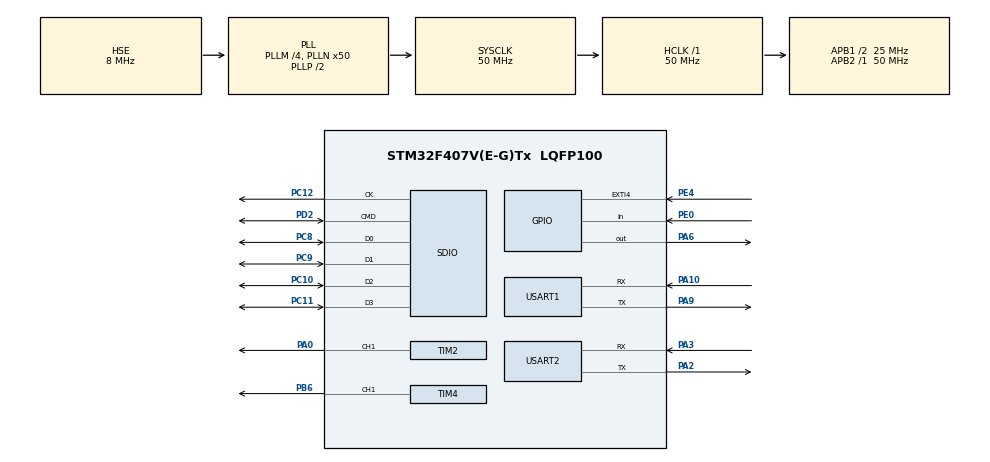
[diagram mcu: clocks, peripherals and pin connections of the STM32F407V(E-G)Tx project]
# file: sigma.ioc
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Dma.Request0=USART1_TX
Dma.Request1=USART2_TX
Dma.Request2=SDIO_RX
Dma.Request3=SDIO_TX
Dma.SDIO_RX.2.Direction=DMA_PERIPH_TO_MEMORY
Dma.SDIO_RX.2.FIFOMode=DMA_FIFOMODE_ENABLE
Dma.SDIO_RX.2.FIFOThreshold=DMA_FIFO_THRESHOLD_FULL
Dma.SDIO_RX.2.Instance=DMA2_Stream3
Dma.SDIO_RX.2.MemBurst=DMA_MBURST_INC4
Dma.SDIO_RX.2.MemDataAlignment=DMA_MDATAALIGN_WORD
Dma.SDIO_RX.2.MemInc=DMA_MINC_ENABLE
Dma.SDIO_RX.2.Mode=DMA_PFCTRL
Dma.SDIO_RX.2.PeriphBurst=DMA_PBURST_INC4
Dma.SDIO_RX.2.PeriphDataAlignment=DMA_PDATAALIGN_WORD
Dma.SDIO_RX.2.PeriphInc=DMA_PINC_DISABLE
Dma.SDIO_RX.2.Priority=DMA_PRIORITY_LOW
Dma.SDIO_TX.3.Direction=DMA_MEMORY_TO_PERIPH
Dma.SDIO_TX.3.FIFOMode=DMA_FIFOMODE_ENABLE
Dma.SDIO_TX.3.FIFOThreshold=DMA_FIFO_THRESHOLD_FULL
Dma.SDIO_TX.3.Instance=DMA2_Stream6
Dma.SDIO_TX.3.MemBurst=DMA_MBURST_INC4
Dma.SDIO_TX.3.MemDataAlignment=DMA_MDATAALIGN_WORD
Dma.SDIO_TX.3.MemInc=DMA_MINC_ENABLE
Dma.SDIO_TX.3.Mode=DMA_PFCTRL
Dma.SDIO_TX.3.PeriphBurst=DMA_PBURST_INC4
Dma.SDIO_TX.3.PeriphDataAlignment=DMA_PDATAALIGN_WORD
Dma.SDIO_TX.3.PeriphInc=DMA_PINC_DISABLE
Dma.SDIO_TX.3.Priority=DMA_PRIORITY_LOW
Dma.USART1_TX.0.Direction=DMA_MEMORY_TO_PERIPH
Dma.USART1_TX.0.FIFOMode=DMA_FIFOMODE_DISABLE
Dma.USART1_TX.0.Instance=DMA2_Stream7
Dma.USART1_TX.0.MemDataAlignment=DMA_MDATAALIGN_BYTE
Dma.USART1_TX.0.MemInc=DMA_MINC_ENABLE
Dma.USART1_TX.0.Mode=DMA_NORMAL
Dma.USART1_TX.0.PeriphDataAlignment=DMA_PDATAALIGN_BYTE
Dma.USART1_TX.0.PeriphInc=DMA_PINC_DISABLE
Dma.USART1_TX.0.Priority=DMA_PRIORITY_LOW
Dma.USART2_TX.1.Direction=DMA_MEMORY_TO_PERIPH
Dma.USART2_TX.1.FIFOMode=DMA_FIFOMODE_DISABLE
Dma.USART2_TX.1.Instance=DMA1_Stream6
Dma.USART2_TX.1.MemDataAlignment=DMA_MDATAALIGN_BYTE
Dma.USART2_TX.1.MemInc=DMA_MINC_ENABLE
Dma.USART2_TX.1.Mode=DMA_NORMAL
Dma.USART2_TX.1.PeriphDataAlignment=DMA_PDATAALIGN_BYTE
Dma.USART2_TX.1.PeriphInc=DMA_PINC_DISABLE
Dma.USART2_TX.1.Priority=DMA_PRIORITY_LOW
FATFS.BSP.number=1
FATFS.USE_DMA_CODE_SD=1
FATFS0.BSP.STBoard=false
FATFS0.BSP.api=Unknown
FATFS0.BSP.instance=PE0
FATFS0.BSP.ip=GPIO
FATFS0.BSP.mode=Input
FATFS0.BSP.name=Detect_SDIO
FATFS0.BSP.solution=PE0
Mcu.Family=STM32F4
Mcu.Name=STM32F407V(E-G)Tx
Mcu.Package=LQFP100
NVIC.DMA1_Stream6_IRQn=true\:0\:0\:false\:false\:true\:false\:true\:true
NVIC.DMA2_Stream3_IRQn=true\:0\:0\:false\:false\:true\:false\:true\:true
NVIC.DMA2_Stream6_IRQn=true\:0\:0\:false\:false\:true\:false\:true\:true
NVIC.DMA2_Stream7_IRQn=true\:0\:0\:false\:false\:true\:false\:true\:true
NVIC.EXTI4_IRQn=true\:0\:0\:false\:false\:true\:true\:true\:true
NVIC.PriorityGroup=NVIC_PRIORITYGROUP_4
NVIC.SDIO_IRQn=true\:0\:0\:false\:false\:true\:true\:true\:true
NVIC.USART1_IRQn=true\:0\:0\:false\:false\:true\:true\:true\:true
NVIC.USART2_IRQn=true\:0\:0\:false\:false\:true\:true\:true\:true
PA0-WKUP.Signal=S_TIM2_CH1_ETR
PA10.Mode=Asynchronous
PA10.Signal=USART1_RX
PA2.Mode=Asynchronous
PA2.Signal=USART2_TX
PA3.Mode=Asynchronous
PA3.Signal=USART2_RX
PA6.Signal=GPIO_Output
PA9.Mode=Asynchronous
PA9.Signal=USART1_TX
PB6.Signal=S_TIM4_CH1
PC10.Mode=SD_4_bits_Wide_bus
PC10.Signal=SDIO_D2
PC11.Mode=SD_4_bits_Wide_bus
PC11.Signal=SDIO_D3
PC12.Mode=SD_4_bits_Wide_bus
PC12.Signal=SDIO_CK
PC14-OSC32_IN.Mode=LSE-External-Oscillator
PC14-OSC32_IN.Signal=RCC_OSC32_IN
PC15-OSC32_OUT.Mode=LSE-External-Oscillator
PC15-OSC32_OUT.Signal=RCC_OSC32_OUT
PC8.Mode=SD_4_bits_Wide_bus
PC8.Signal=SDIO_D0
PC9.Mode=SD_4_bits_Wide_bus
PC9.Signal=SDIO_D1
PD2.Mode=SD_4_bits_Wide_bus
PD2.Signal=SDIO_CMD
PE0.GPIO_PuPd=GPIO_PULLUP
PE0.Signal=GPIO_Input
PE4.Signal=GPXTI4
PH0-OSC_IN.Mode=HSE-External-Oscillator
PH0-OSC_IN.Signal=RCC_OSC_IN
PH1-OSC_OUT.Mode=HSE-External-Oscillator
PH1-OSC_OUT.Signal=RCC_OSC_OUT
ProjectManager.HeapSize=0x200
ProjectManager.StackSize=0x400
ProjectManager.TargetToolchain=STM32CubeIDE
RCC.48MHZClocksFreq_Value=25000000
RCC.AHBFreq_Value=50000000
RCC.APB1CLKDivider=RCC_HCLK_DIV2
RCC.APB1Freq_Value=25000000
RCC.APB1TimFreq_Value=50000000
RCC.APB2Freq_Value=50000000
RCC.APB2TimFreq_Value=50000000
RCC.CortexFreq_Value=50000000
RCC.EnbaleCSS=true
RCC.HCLKFreq_Value=50000000
RCC.HSE_VALUE=8000000
RCC.HSI_VALUE=16000000
RCC.PLLM=4
RCC.PLLN=50
RCC.PLLSourceVirtual=RCC_PLLSOURCE_HSE
RCC.RCC_RTC_Clock_Source=RCC_RTCCLKSOURCE_LSE
RCC.RCC_RTC_Clock_SourceVirtual=RCC_RTCCLKSOURCE_LSE
RCC.SYSCLKFreq_VALUE=50000000
RCC.SYSCLKSource=RCC_SYSCLKSOURCE_PLLCLK
RCC.VCOOutputFreq_Value=100000000
SH.S_TIM2_CH1_ETR.0=TIM2_CH1,PWM Generation1 CH1
SH.S_TIM4_CH1.0=TIM4_CH1,PWM Generation1 CH1
TIM2.Channel-PWM\ Generation1\ CH1=TIM_CHANNEL_1
TIM2.Period=19999
TIM2.Prescaler=49
TIM4.Channel-PWM\ Generation1\ CH1=TIM_CHANNEL_1
TIM4.Period=19999
TIM4.Prescaler=49
USART1.VirtualMode=VM_ASYNC
USART2.VirtualMode=VM_ASYNC
VP_CRC_VS_CRC.Mode=CRC_Activate
VP_FATFS_VS_SDIO.Mode=SDIO
VP_RTC_VS_RTC_Activate.Mode=RTC_Enabled
VP_RTC_VS_RTC_Calendar.Mode=RTC_Calendar
board=custom

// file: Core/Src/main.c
/* USER CODE BEGIN Header */
/**
 ******************************************************************************
 * @file           : main.c
 * @brief          : Main program body
 ******************************************************************************
 * @attention
 *
 * Copyright (c) 2026 STMicroelectronics.
 * All rights reserved.
 *
 * This software is licensed under terms that can be found in the LICENSE file
 * in the root directory of this software component.
 * If no LICENSE file comes with this software, it is provided AS-IS.
 *
 ******************************************************************************
 */
/* USER CODE END Header */
#include "main.h"
#include "crc.h"
#include "dma.h"
#include "fatfs.h"
#include "rtc.h"
#include "sdio.h"
#include "tim.h"
#include "usart.h"
#include "gpio.h"

/* USER CODE BEGIN Includes */
#include "qpc.h"
#include "app.h"
/* USER CODE END Includes */

void SystemClock_Config(void);

/* USER CODE BEGIN 0 */
extern uint8_t buffer[16];
static QEvtPtr l_blinkyQueueSto[16];
/* USER CODE END 0 */

int main(void)
{

  /* MCU Configuration--------------------------------------------------------*/

  /* Reset of all peripherals, Initializes the Flash interface and the Systick. */
  HAL_Init();

  /* Configure the system clock */
  SystemClock_Config();

  /* Initialize all configured peripherals */
  MX_GPIO_Init();
  MX_DMA_Init();
  MX_RTC_Init();
  MX_USART1_UART_Init();
  MX_CRC_Init();
  MX_TIM2_Init();
  MX_TIM4_Init();
  MX_USART2_UART_Init();
  MX_SDIO_SD_Init();
  MX_FATFS_Init();

  /* Infinite loop */
  /* USER CODE BEGIN WHILE */
	//while (1)
	// {

    /* USER CODE END WHILE */

    /* USER CODE BEGIN 3 */
	//}
	Satellite_Ctor();
	QF_init();

	QACTIVE_START(AO_Satellite,
	              1U,                              // öncelik
	              l_blinkyQueueSto,
	              Q_DIM(l_blinkyQueueSto),
	              (void *)0, 0U,
	              (void *)0);

	return QF_run();
  /* USER CODE END 3 */
}

void SystemClock_Config(void)
{
  RCC_OscInitTypeDef RCC_OscInitStruct = {0};
  RCC_ClkInitTypeDef RCC_ClkInitStruct = {0};

  /** Configure the main internal regulator output voltage
  */
  __HAL_RCC_PWR_CLK_ENABLE();
  __HAL_PWR_VOLTAGESCALING_CONFIG(PWR_REGULATOR_VOLTAGE_SCALE1);

  /** Initializes the RCC Oscillators according to the specified parameters
  * in the RCC_OscInitTypeDef structure.
  */
  RCC_OscInitStruct.OscillatorType = RCC_OSCILLATORTYPE_HSE|RCC_OSCILLATORTYPE_LSE;
  RCC_OscInitStruct.HSEState = RCC_HSE_ON;
  RCC_OscInitStruct.LSEState = RCC_LSE_ON;
  RCC_OscInitStruct.PLL.PLLState = RCC_PLL_ON;
  RCC_OscInitStruct.PLL.PLLSource = RCC_PLLSOURCE_HSE;
  RCC_OscInitStruct.PLL.PLLM = 4;
  RCC_OscInitStruct.PLL.PLLN = 50;
  RCC_OscInitStruct.PLL.PLLP = RCC_PLLP_DIV2;
  RCC_OscInitStruct.PLL.PLLQ = 4;
  if (HAL_RCC_OscConfig(&RCC_OscInitStruct) != HAL_OK)
  {
    Error_Handler();
  }

  /** Initializes the CPU, AHB and APB buses clocks
  */
  RCC_ClkInitStruct.ClockType = RCC_CLOCKTYPE_HCLK|RCC_CLOCKTYPE_SYSCLK
                              |RCC_CLOCKTYPE_PCLK1|RCC_CLOCKTYPE_PCLK2;
  RCC_ClkInitStruct.SYSCLKSource = RCC_SYSCLKSOURCE_PLLCLK;
  RCC_ClkInitStruct.AHBCLKDivider = RCC_SYSCLK_DIV1;
  RCC_ClkInitStruct.APB1CLKDivider = RCC_HCLK_DIV2;
  RCC_ClkInitStruct.APB2CLKDivider = RCC_HCLK_DIV1;

  if (HAL_RCC_ClockConfig(&RCC_ClkInitStruct, FLASH_LATENCY_1) != HAL_OK)
  {
    Error_Handler();
  }

  /** Enables the Clock Security System
  */
  HAL_RCC_EnableCSS();
}

/* USER CODE BEGIN 4 */

void HAL_UARTEx_RxEventCallback(UART_HandleTypeDef *huart, uint16_t Size)
{
    if(huart->Instance == USART1)
    {
    	static QEvt const cmdEvt = QEVT_INITIALIZER(RX_COMMAND_SIG);

    	QACTIVE_POST(AO_Satellite, &cmdEvt, (void*)0);
        // KRİTİK: Bir sonraki paket için dinlemeyi tekrar başlatın
        HAL_UARTEx_ReceiveToIdle_IT(&huart1, buffer, 64);
    }
}
/* USER CODE END 4 */

void Error_Handler(void)
{
	__disable_irq();
	while (1) {
	}
}
